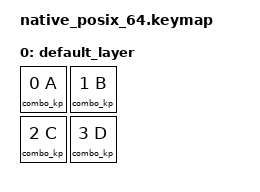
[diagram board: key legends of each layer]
#include <dt-bindings/zmk/keys.h>
#include <behaviors.dtsi>
#include <dt-bindings/zmk/kscan_mock.h>

/ {
    combos {
        compatible = "zmk,combos";
        combo_one {
            timeout-ms = <80>;
            triggers = <0 1 2 3>;
            bindings = <&kp Z>;
        };
    };

    keymap {
        compatible = "zmk,keymap";

        default_layer {
            bindings = <
                &combo_kp 0 A &combo_kp 1 B
                &combo_kp 2 C &combo_kp 3 D
            >;
        };
    };
};

&kscan {
    events = <
        ZMK_MOCK_PRESS(1,1,10)
        ZMK_MOCK_PRESS(0,1,10)
        ZMK_MOCK_PRESS(1,0,10)
        ZMK_MOCK_PRESS(0,0,10)
        ZMK_MOCK_RELEASE(0,0,100)
        ZMK_MOCK_RELEASE(1,0,100)
        ZMK_MOCK_RELEASE(0,1,100)
        ZMK_MOCK_RELEASE(1,1,100)
    >;
};
